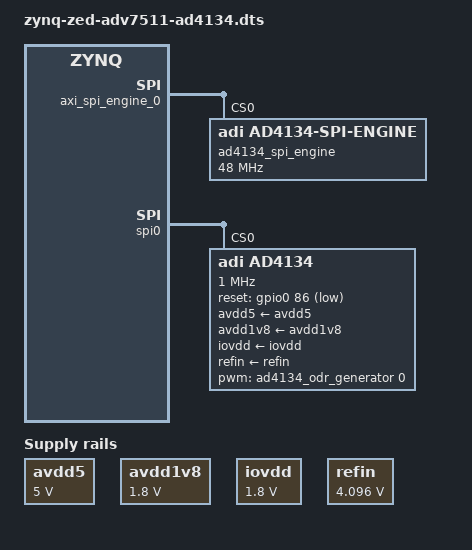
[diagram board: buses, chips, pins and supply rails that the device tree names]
// SPDX-License-Identifier: GPL-2.0-or-later
/*
 * Analog Devices AD4134
 * https://wiki.analog.com/resources/tools-software/linux-drivers/iio-adc/ad4134
 * https://wiki.analog.com/resources/eval/user-guides/ad4134
 *
 * hdl_project: <ad4134_fmc/zed>
 *
 * Copyright (C) 2022 Analog Devices, Inc.
 */
/dts-v1/;

#include <dt-bindings/gpio/gpio.h>

#include "zynq-zed.dtsi"
#include "zynq-zed-adv7511.dtsi"

/ {
	avdd5: regulator-avdd5 {
		compatible = "regulator-fixed";
		regulator-name = "avdd5";
		regulator-min-microvolt = <5000000>;
		regulator-max-microvolt = <5000000>;
		regulator-always-on;
	};

	avdd1v8: regulator-avdd1v8 {
		compatible = "regulator-fixed";
		regulator-name = "avdd1v8";
		regulator-min-microvolt = <1800000>;
		regulator-max-microvolt = <1800000>;
		regulator-always-on;
	};

	iovdd: regulator-iovdd {
		compatible = "regulator-fixed";
		regulator-name = "iovdd";
		regulator-min-microvolt = <1800000>;
		regulator-max-microvolt = <1800000>;
		regulator-always-on;
	};

	refin: regulator-refin {
		compatible = "regulator-fixed";
		regulator-name = "refin";
		regulator-min-microvolt = <4096000>;
		regulator-max-microvolt = <4096000>;
		regulator-always-on;
	};

	sys_clk: sys-clk {
		compatible = "fixed-clock";
		#clock-cells = <0>;
		clock-frequency = <48000000>;
	};
};

&fpga_axi {
	rx_dma: rx-dmac@44a30000 {
		compatible = "adi,axi-dmac-1.00.a";
		reg = <0x44a30000 0x1000>;
		#dma-cells = <1>;
		interrupt-parent = <&intc>;
		interrupts = <0 57 IRQ_TYPE_LEVEL_HIGH>;
		clocks = <&clkc 15>;

		adi,channels {
			#size-cells = <0>;
			#address-cells = <1>;

			dma-channel@0 {
				reg = <0>;
				adi,source-bus-width = <128>;
				adi,source-bus-type = <1>;
				adi,destination-bus-width = <64>;
				adi,destination-bus-type = <0>;
			};
		};
	};

	axi_spi_engine_0: spi@44a00000 {
		compatible = "adi,axi-spi-engine-1.00.a";
		reg = <0x44a00000 0x10000>;
		interrupt-parent = <&intc>;
		interrupts = <0 56 IRQ_TYPE_LEVEL_HIGH>;
		clocks = <&clkc 15 &spi_clk>;
		clock-names = "s_axi_aclk", "spi_clk";
		num-cs = <1>;

		#address-cells = <0x1>;
		#size-cells = <0x0>;

		ad4134_spi_engine: spi_engine@0 {
			compatible = "adi,ad4134-spi-engine";
			reg = <0>;

			spi-max-frequency = <48000000>;

			spi-cpha;
		};
	};

	ad4134_odr_generator: odr_generator@44b00000 {
		compatible = "adi,axi-pwmgen";
		reg = <0x44b00000 0x10000>;
		#pwm-cells = <2>;
		clocks = <&clkc 15>;
	};

	spi_clk: axi_clkgen@44b10000 {
		compatible = "adi,axi-clkgen-2.00.a";
		reg = <0x44b10000 0x10000>;
		#clock-cells = <0>;
		clocks = <&clkc 15>, <&clkc 15>;
		clock-names = "s_axi_aclk", "clkin1";
	};
};

&spi0 {
	status = "okay";

	ad4134: adc@0 {
		compatible = "adi,ad4134";
		reg = <0>;

		spi-max-frequency = <1000000>;

		reset-gpios = <&gpio0 86 GPIO_ACTIVE_LOW>;

		clocks = <&sys_clk>;
		clock-names = "sys_clk";

		dmas = <&rx_dma 0>;
		dma-names = "rx";

		pwms = <&ad4134_odr_generator 0 0>;
		pwm-names = "odr_pwm";

		avdd5-supply = <&avdd5>;
		avdd1v8-supply = <&avdd1v8>;
		iovdd-supply = <&iovdd>;
		refin-supply = <&refin>;

		adi,spi-engine = <&ad4134_spi_engine>;
	};
};
